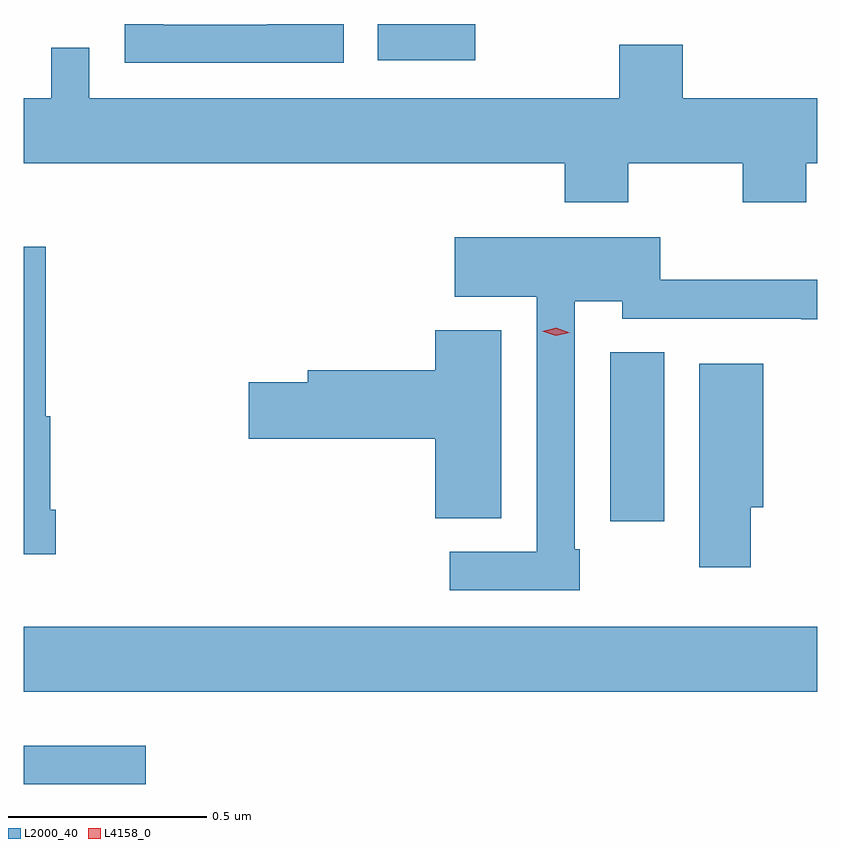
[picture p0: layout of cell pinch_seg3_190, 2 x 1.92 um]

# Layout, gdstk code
import gdstk
lib = gdstk.Library(unit=1e-6, precision=1e-09)
def R(c, l, rs):  # rectangles x0, y0, x1, y1
    for r in rs: c.add(gdstk.rectangle(r[:2], r[2:], *l))
def P(c, l, *ps):  # polygons
    for p in ps: c.add(gdstk.Polygon(p, *l))
L2000_40 = (2000, 40)
L4158_0 = (4158, 0)

pinch_seg3_190 = lib.new_cell('pinch_seg3_190')
R(pinch_seg3_190, L2000_40, [(987.501,745.971,987.808,746.068), (987.501,746.204,989.501,746.368), (988.979,746.634,989.116,747.059), (988.393,747.795,988.639,747.887)])
P(pinch_seg3_190, L2000_40, [(988.308,747.887),(988.115,747.887),(988.115,747.885),(987.852,747.885),(987.852,747.887),(987.756,747.887),(987.756,747.789),(988.308,747.789)],
  [(989.025,747.536),(989.314,747.536),(989.314,747.437),(989.474,747.437),(989.474,747.536),(989.501,747.536),(989.501,747.7),(989.162,747.7),(989.162,747.835),(989.002,747.835),(989.002,747.7),(987.666,747.7),(987.666,747.827),(987.57,747.827),(987.57,747.7),(987.501,747.7),(987.501,747.536),(988.865,747.536),(988.865,747.437),(989.025,747.437)],
  [(988.903,746.563),(988.89,746.563),(988.89,747.188),(989.01,747.188),(989.01,747.144),(989.461,747.144),(989.461,747.143),(989.501,747.143),(989.501,747.242),(989.106,747.242),(989.106,747.349),(988.587,747.349),(988.587,747.2),(988.794,747.2),(988.794,746.556),(988.575,746.556),(988.575,746.46),(988.903,746.46)],
  [(987.581,746.662),(987.568,746.662),(987.568,746.898),(987.556,746.898),(987.556,747.325),(987.501,747.325),(987.501,746.55),(987.581,746.55)],
  [(988.705,747.115),(988.538,747.115),(988.538,747.014),(988.217,747.014),(988.217,746.984),(988.068,746.984),(988.068,746.842),(988.538,746.842),(988.538,746.641),(988.705,746.641)],
  [(989.334,746.669),(989.365,746.669),(989.365,747.031),(989.204,747.031),(989.204,746.517),(989.334,746.517)])
P(pinch_seg3_190, L4158_0, [(988.842,747.101),(988.808,747.112),(988.808,747.112),(988.808,747.112),(988.843,747.121),(988.877,747.109),(988.877,747.109),(988.877,747.109)])

lib.write_gds('pinch_seg3_190.gds')
